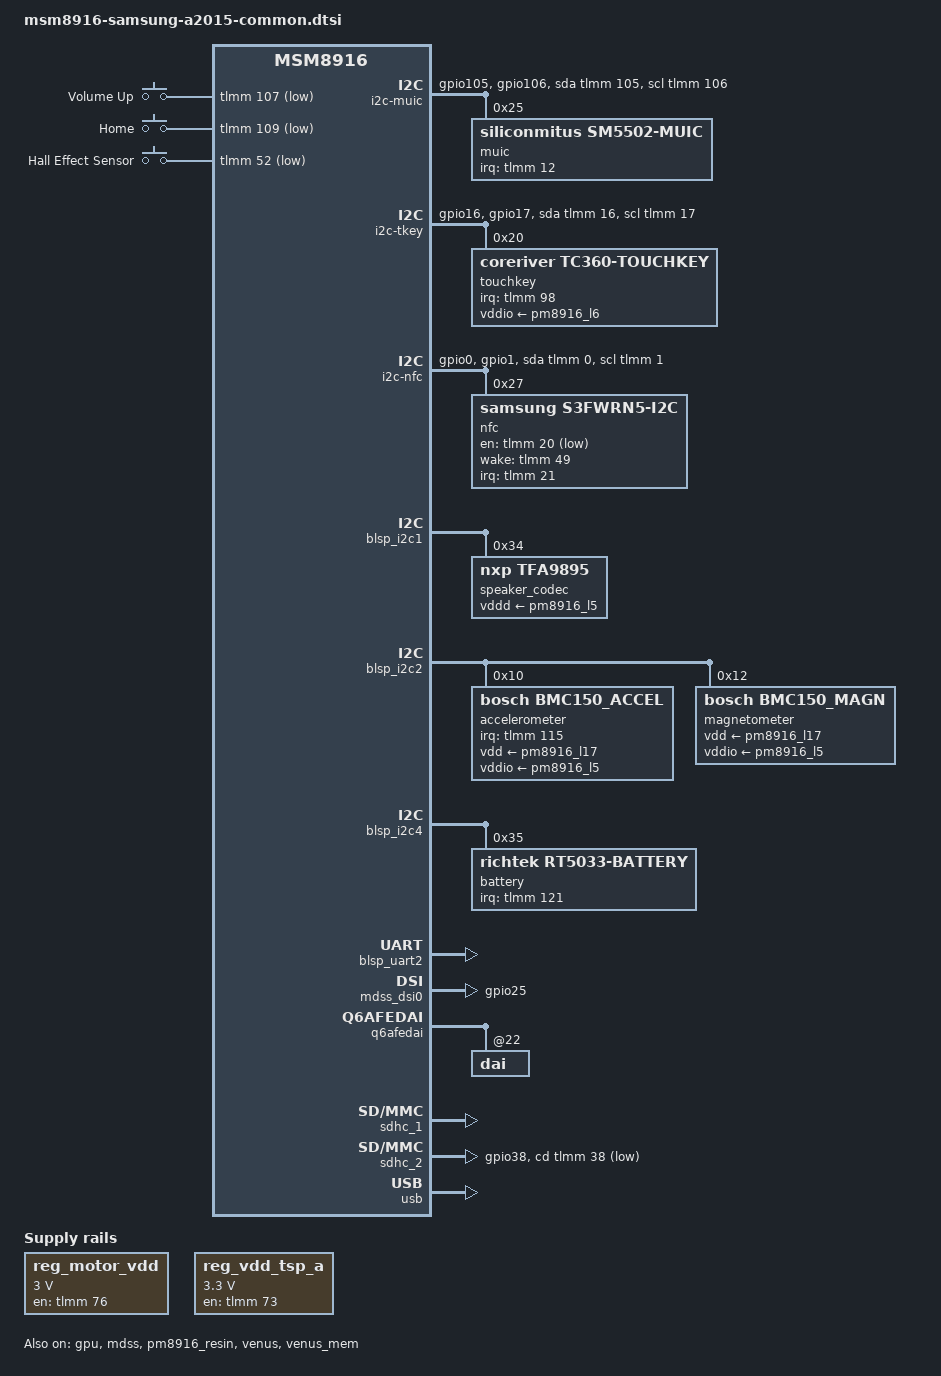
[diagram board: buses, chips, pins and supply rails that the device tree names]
// SPDX-License-Identifier: GPL-2.0-only

#include "msm8916-pm8916.dtsi"
#include "msm8916-modem-qdsp6.dtsi"

#include <dt-bindings/gpio/gpio.h>
#include <dt-bindings/input/input.h>
#include <dt-bindings/interrupt-controller/irq.h>
#include <dt-bindings/pinctrl/qcom,pmic-gpio.h>
#include <dt-bindings/sound/apq8016-lpass.h>

/ {
	aliases {
		mmc0 = &sdhc_1; /* eMMC */
		mmc1 = &sdhc_2; /* SD card */
		serial0 = &blsp_uart2;
	};

	chosen {
		stdout-path = "serial0";
	};

	reserved-memory {
		/* Additional memory used by Samsung firmware modifications */
		tz-apps@85500000 {
			reg = <0x0 0x85500000 0x0 0xb00000>;
			no-map;
		};
	};

	clk_pwm: pwm {
		compatible = "clk-pwm";
		#pwm-cells = <2>;

		clocks = <&gcc GCC_GP2_CLK>;

		pinctrl-names = "default";
		pinctrl-0 = <&motor_pwm_default>;
		status = "disabled";
	};

	gpio-keys {
		compatible = "gpio-keys";

		pinctrl-names = "default";
		pinctrl-0 = <&gpio_keys_default>;

		label = "GPIO Buttons";

		button-volume-up {
			label = "Volume Up";
			gpios = <&tlmm 107 GPIO_ACTIVE_LOW>;
			linux,code = <KEY_VOLUMEUP>;
		};

		button-home {
			label = "Home";
			gpios = <&tlmm 109 GPIO_ACTIVE_LOW>;
			linux,code = <KEY_HOMEPAGE>;
		};
	};

	gpio-hall-sensor {
		compatible = "gpio-keys";

		pinctrl-names = "default";
		pinctrl-0 = <&gpio_hall_sensor_default>;

		label = "GPIO Hall Effect Sensor";

		event-hall-sensor {
			label = "Hall Effect Sensor";
			gpios = <&tlmm 52 GPIO_ACTIVE_LOW>;
			linux,input-type = <EV_SW>;
			linux,code = <SW_LID>;
			linux,can-disable;
		};
	};

	/*
	 * NOTE: A5 connects GPIO 76 to a reglator powering the motor
	 * driver IC but A3 connects the same signal to an ENABLE pin of
	 * the driver.
	 */
	reg_motor_vdd: regulator-motor-vdd {
		compatible = "regulator-fixed";
		regulator-name = "motor_vdd";
		regulator-min-microvolt = <3000000>;
		regulator-max-microvolt = <3000000>;

		gpio = <&tlmm 76 GPIO_ACTIVE_HIGH>;
		enable-active-high;

		pinctrl-names = "default";
		pinctrl-0 = <&motor_en_default>;
	};

	reg_vdd_tsp_a: regulator-vdd-tsp-a {
		compatible = "regulator-fixed";
		regulator-name = "vdd_tsp_a";
		regulator-min-microvolt = <3300000>;
		regulator-max-microvolt = <3300000>;

		gpio = <&tlmm 73 GPIO_ACTIVE_HIGH>;
		enable-active-high;

		pinctrl-names = "default";
		pinctrl-0 = <&tsp_en_default>;
	};

	i2c-muic {
		compatible = "i2c-gpio";
		sda-gpios = <&tlmm 105 (GPIO_ACTIVE_HIGH|GPIO_OPEN_DRAIN)>;
		scl-gpios = <&tlmm 106 (GPIO_ACTIVE_HIGH|GPIO_OPEN_DRAIN)>;

		pinctrl-names = "default";
		pinctrl-0 = <&muic_i2c_default>;

		#address-cells = <1>;
		#size-cells = <0>;

		muic: extcon@25 {
			compatible = "siliconmitus,sm5502-muic";

			reg = <0x25>;
			interrupt-parent = <&tlmm>;
			interrupts = <12 IRQ_TYPE_EDGE_FALLING>;

			pinctrl-names = "default";
			pinctrl-0 = <&muic_int_default>;
		};
	};

	i2c-tkey {
		compatible = "i2c-gpio";
		sda-gpios = <&tlmm 16 (GPIO_ACTIVE_HIGH|GPIO_OPEN_DRAIN)>;
		scl-gpios = <&tlmm 17 (GPIO_ACTIVE_HIGH|GPIO_OPEN_DRAIN)>;

		pinctrl-names = "default";
		pinctrl-0 = <&tkey_i2c_default>;

		#address-cells = <1>;
		#size-cells = <0>;

		touchkey: touchkey@20 {
			/* Note: Actually an ABOV MCU that implements same interface */
			compatible = "coreriver,tc360-touchkey";
			reg = <0x20>;

			interrupt-parent = <&tlmm>;
			interrupts = <98 IRQ_TYPE_EDGE_FALLING>;

			/* vcc/vdd-supply are board-specific */
			vddio-supply = <&pm8916_l6>;

			linux,keycodes = <KEY_APPSELECT KEY_BACK>;

			pinctrl-names = "default";
			pinctrl-0 = <&tkey_default>;
		};
	};

	i2c-nfc {
		compatible = "i2c-gpio";
		sda-gpios = <&tlmm 0 (GPIO_ACTIVE_HIGH|GPIO_OPEN_DRAIN)>;
		scl-gpios = <&tlmm 1 (GPIO_ACTIVE_HIGH|GPIO_OPEN_DRAIN)>;

		pinctrl-names = "default";
		pinctrl-0 = <&nfc_i2c_default>;

		#address-cells = <1>;
		#size-cells = <0>;

		nfc@27 {
			compatible = "samsung,s3fwrn5-i2c";
			reg = <0x27>;

			interrupt-parent = <&tlmm>;
			interrupts = <21 IRQ_TYPE_EDGE_RISING>;

			en-gpios = <&tlmm 20 GPIO_ACTIVE_LOW>;
			wake-gpios = <&tlmm 49 GPIO_ACTIVE_HIGH>;

			clocks = <&rpmcc RPM_SMD_BB_CLK2_PIN>;

			pinctrl-names = "default";
			pinctrl-0 = <&nfc_default &nfc_clk_req>;
		};
	};

	vibrator: vibrator {
		compatible = "pwm-vibrator";

		pwms = <&clk_pwm 0 100000>;
		pwm-names = "enable";

		vcc-supply = <&reg_motor_vdd>;
		status = "disabled";
	};
};

&blsp_i2c1 {
	status = "okay";

	speaker_codec: audio-codec@34 {
		compatible = "nxp,tfa9895";
		reg = <0x34>;
		vddd-supply = <&pm8916_l5>;
		sound-name-prefix = "Speaker";
		#sound-dai-cells = <0>;
	};
};

&blsp_i2c2 {
	status = "okay";

	accelerometer: accelerometer@10 {
		compatible = "bosch,bmc150_accel";
		reg = <0x10>;
		interrupt-parent = <&tlmm>;
		interrupts = <115 IRQ_TYPE_EDGE_RISING>;

		vdd-supply = <&pm8916_l17>;
		vddio-supply = <&pm8916_l5>;

		pinctrl-names = "default";
		pinctrl-0 = <&accel_int_default>;
	};

	magnetometer@12 {
		compatible = "bosch,bmc150_magn";
		reg = <0x12>;

		vdd-supply = <&pm8916_l17>;
		vddio-supply = <&pm8916_l5>;
	};
};

&blsp_i2c4 {
	status = "okay";

	battery@35 {
		compatible = "richtek,rt5033-battery";
		reg = <0x35>;
		interrupt-parent = <&tlmm>;
		interrupts = <121 IRQ_TYPE_EDGE_BOTH>;

		pinctrl-names = "default";
		pinctrl-0 = <&fg_alert_default>;
	};
};

&blsp_uart2 {
	status = "okay";
};

&gpu {
	status = "okay";
};

/*
 * For some reason the speaker amplifier is connected to the second SD line
 * (MI2S_2_D1) instead of the first (MI2S_2_D0). This must be configured in the
 * device tree, otherwise audio will seemingly play fine on the wrong SD line
 * but the speaker stays silent.
 *
 * When routing audio via QDSP6 (the default) the &lpass node is reserved and
 * the definitions from &q6afedai are used. When the modem is disabled audio can
 * be alternatively routed directly to the LPASS hardware with reduced latency.
 * The definitions for &lpass are here for completeness to simplify changing the
 * setup with minor changes to the DT (either manually or with DT overlays).
 */
&lpass {
	dai-link@3 {
		reg = <MI2S_QUATERNARY>;
		qcom,playback-sd-lines = <1>;
	};
};

&mdss {
	status = "okay";
};

&mdss_dsi0 {
	pinctrl-names = "default", "sleep";
	pinctrl-0 = <&mdss_default>;
	pinctrl-1 = <&mdss_sleep>;
};

&mpss_mem {
	reg = <0x0 0x86800000 0x0 0x5400000>;
};

&pm8916_resin {
	status = "okay";
	linux,code = <KEY_VOLUMEDOWN>;
};

&pm8916_rpm_regulators {
	pm8916_l17: l17 {
		regulator-min-microvolt = <2850000>;
		regulator-max-microvolt = <2850000>;
	};
};

&q6afedai {
	dai@22 {
		reg = <QUATERNARY_MI2S_RX>;
		qcom,sd-lines = <1>;
	};
};

&sdhc_1 {
	status = "okay";
};

&sdhc_2 {
	status = "okay";

	pinctrl-names = "default", "sleep";
	pinctrl-0 = <&sdc2_default &sdc2_cd_default>;
	pinctrl-1 = <&sdc2_sleep &sdc2_cd_default>;

	cd-gpios = <&tlmm 38 GPIO_ACTIVE_LOW>;
};

&sound {
	model = "samsung-a2015";
	audio-routing =
		"AMIC1", "MIC BIAS External1",
		"AMIC2", "MIC BIAS Internal2",
		"AMIC3", "MIC BIAS External1";

	pinctrl-0 = <&cdc_pdm_default &sec_mi2s_default>;
	pinctrl-1 = <&cdc_pdm_sleep &sec_mi2s_sleep>;
	pinctrl-names = "default", "sleep";

	sound_link_backend2: backend2-dai-link {
		link-name = "Quaternary MI2S";

		cpu {
			sound-dai = <&q6afedai QUATERNARY_MI2S_RX>;
		};
		platform {
			sound-dai = <&q6routing>;
		};
		codec {
			sound-dai = <&speaker_codec>;
		};
	};
};

&usb {
	status = "okay";
	extcon = <&muic>, <&muic>;
};

&usb_hs_phy {
	extcon = <&muic>;
};

&venus {
	status = "okay";
};

&venus_mem {
	status = "okay";
};

&tlmm {
	accel_int_default: accel-int-default-state {
		pins = "gpio115";
		function = "gpio";

		drive-strength = <2>;
		bias-disable;
	};

	fg_alert_default: fg-alert-default-state {
		pins = "gpio121";
		function = "gpio";

		drive-strength = <2>;
		bias-disable;
	};

	gpio_keys_default: gpio-keys-default-state {
		pins = "gpio107", "gpio109";
		function = "gpio";

		drive-strength = <2>;
		bias-pull-up;
	};

	gpio_hall_sensor_default: gpio-hall-sensor-default-state {
		pins = "gpio52";
		function = "gpio";

		drive-strength = <2>;
		bias-disable;
	};

	mdss_default: mdss-default-state {
		pins = "gpio25";
		function = "gpio";

		drive-strength = <8>;
		bias-disable;
	};
	mdss_sleep: mdss-sleep-state {
		pins = "gpio25";
		function = "gpio";

		drive-strength = <2>;
		bias-pull-down;
	};

	motor_en_default: motor-en-default-state {
		pins = "gpio76";
		function = "gpio";

		drive-strength = <2>;
		bias-disable;
	};

	motor_pwm_default: motor-pwm-default-state {
		pins = "gpio50";
		function = "gcc_gp2_clk_a";
	};

	muic_i2c_default: muic-i2c-default-state {
		pins = "gpio105", "gpio106";
		function = "gpio";

		drive-strength = <2>;
		bias-disable;
	};

	muic_int_default: muic-int-default-state {
		pins = "gpio12";
		function = "gpio";

		drive-strength = <2>;
		bias-disable;
	};

	nfc_default: nfc-default-state {
		nfc-pins {
			pins = "gpio20", "gpio49";
			function = "gpio";

			drive-strength = <2>;
			bias-disable;
		};

		irq-pins {
			pins = "gpio21";
			function = "gpio";

			drive-strength = <2>;
			bias-pull-down;
		};
	};

	nfc_i2c_default: nfc-i2c-default-state {
		pins = "gpio0", "gpio1";
		function = "gpio";

		drive-strength = <2>;
		bias-disable;
	};

	sdc2_cd_default: sdc2-cd-default-state {
		pins = "gpio38";
		function = "gpio";
		drive-strength = <2>;
		bias-disable;
	};

	tkey_default: tkey-default-state {
		pins = "gpio98";
		function = "gpio";

		drive-strength = <2>;
		bias-disable;
	};

	tkey_i2c_default: tkey-i2c-default-state {
		pins = "gpio16", "gpio17";
		function = "gpio";

		drive-strength = <2>;
		bias-disable;
	};

	tsp_en_default: tsp-en-default-state {
		pins = "gpio73";
		function = "gpio";

		drive-strength = <2>;
		bias-disable;
	};

	ts_int_default: ts-int-default-state {
		pins = "gpio13";
		function = "gpio";

		drive-strength = <2>;
		bias-disable;
	};
};

&pm8916_gpios {
	nfc_clk_req: nfc-clk-req-state {
		pins = "gpio2";
		function = "func1";

		input-enable;
		bias-disable;
		power-source = <PM8916_GPIO_L2>;
	};
};
